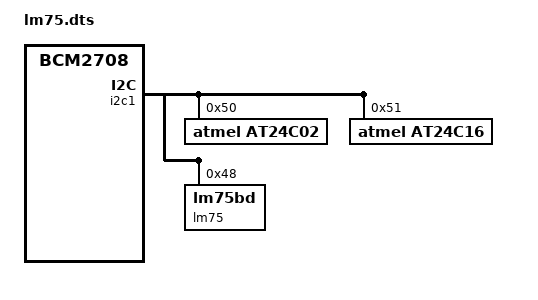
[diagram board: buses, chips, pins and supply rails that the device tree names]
// Definitions for I2C EEPROM (24lcxx)
// www.ittraining.com.tw
/dts-v1/;
/plugin/;

/ {
        compatible = "brcm,bcm2708";

        fragment@0 {
                target = <&i2c1>;
                __overlay__ {
                        #address-cells = <1>;
                        #size-cells = <0>;
                        status = "okay";
                     
  
                       at24c02@50{
                           compatible = "atmel,at24c02";
                           page_size=<8>;
                           byte_len=<256>;
                           reg = <0x50>;
                        };
                       
                       at24c16@51{ 
                           compatible = "atmel,at24c16";
                           page_size=<8>;
                           /*in fact , 24lc16 is 2K byte (256byte*8), slave address are 50,51,52,..,57
                            here, we only use 256 byte
                            */
                         //  byte_len=<2048>; 
                           byte_len=<256>;
                           reg = <0x51>;
                        };



                       lm75@48{
		           compatible ="lm75bd";
			   reg =<0x48>;		 
                       }; 
                };
        };
        
        
};
